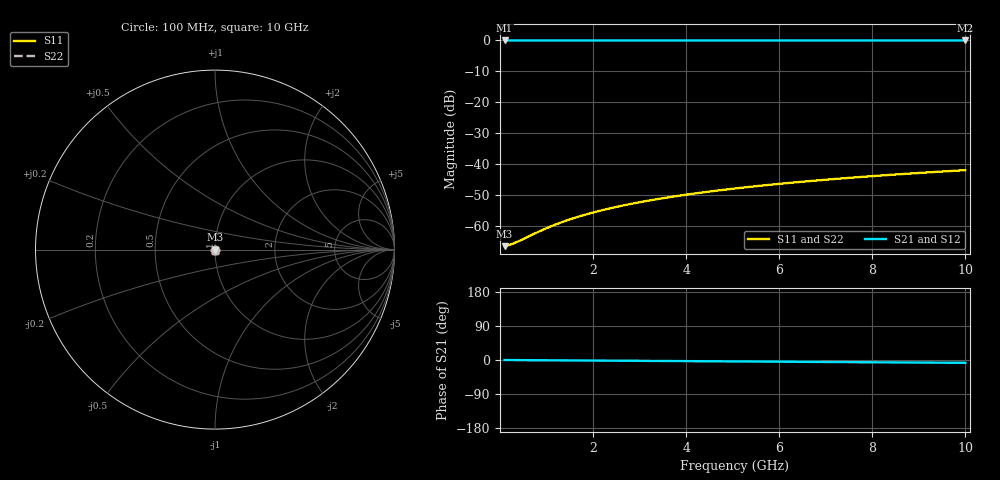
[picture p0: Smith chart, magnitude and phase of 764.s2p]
# Hz S RI R 50.00
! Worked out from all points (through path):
!   100 points, 100 MHz to 10 GHz, reference 50 ohm
!   highest |S21| = 0.00 dB at 100 MHz (marker M1); lowest = 0.0 dB at 10 GHz (marker M2)
!   group delay of S21, straight-line fit = 2.08 ps
!   lowest |S11| = -66.7 dB at 100 MHz (marker M3), VSWR 1.00, Z = 50 - j0.00781 ohm
!   |S11| at or under -10 dB: start of sweep to end of sweep
!   |S22| runs from -66.7 to -42.0 dB; largest |S21 - S12| = 0
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1e8  0.000456 -7.8e-05  0.9995 -0.0013  0.9995 -0.0013  0.000456 -7.8e-05
2e8  0.000458 -0.000156  0.9995 -0.00259  0.9995 -0.00259  0.000458 -0.000156
3e8  0.000459 -0.000234  0.9995 -0.00389  0.9995 -0.00389  0.000459 -0.000234
4e8  0.00046 -0.000312  0.9995 -0.00518  0.9995 -0.00518  0.00046 -0.000312
9e8  0.000457 -0.000703  0.9995 -0.0117  0.9995 -0.0117  0.000457 -0.000703
1.2e9  0.000451 -0.000938  0.9994 -0.0155  0.9994 -0.0155  0.000451 -0.000938
1.5e9  0.000444 -0.00117  0.9993 -0.0194  0.9993 -0.0194  0.000444 -0.00117
1.8e9  0.000434 -0.00141  0.9992 -0.0233  0.9992 -0.0233  0.000434 -0.00141
2.1e9  0.000422 -0.00164  0.9991 -0.0272  0.9991 -0.0272  0.000422 -0.00164
2.5e9  0.000404 -0.00196  0.999 -0.0324  0.999 -0.0324  0.000404 -0.00196
2.9e9  0.000382 -0.00227  0.9988 -0.0376  0.9988 -0.0376  0.000382 -0.00227
3.4e9  0.000349 -0.00267  0.9985 -0.0441  0.9985 -0.0441  0.000349 -0.00267
3.8e9  0.000319 -0.00299  0.9983 -0.0493  0.9983 -0.0493  0.000319 -0.00299
4.2e9  0.000286 -0.0033  0.998 -0.0545  0.998 -0.0545  0.000286 -0.0033
4.6e9  0.00025 -0.00362  0.9977 -0.0597  0.9977 -0.0597  0.00025 -0.00362
5.1e9  0.000199 -0.00402  0.9973 -0.0662  0.9973 -0.0662  0.000199 -0.00402
5.9e9  0.000108 -0.00465  0.9965 -0.0766  0.9965 -0.0766  0.000108 -0.00465
6.7e9  2.98e-06 -0.00529  0.9956 -0.087  0.9956 -0.087  2.98e-06 -0.00529
7.5e9  -0.000115 -0.00592  0.9947 -0.0974  0.9947 -0.0974  -0.000115 -0.00592
8.4e9  -0.000264 -0.00663  0.9934 -0.1091  0.9934 -0.1091  -0.000264 -0.00663
9.2e9  -0.000411 -0.00726  0.9922 -0.1196  0.9922 -0.1196  -0.000411 -0.00726
1e10  -0.00057 -0.00788  0.9909 -0.13  0.9909 -0.13  -0.00057 -0.00788
